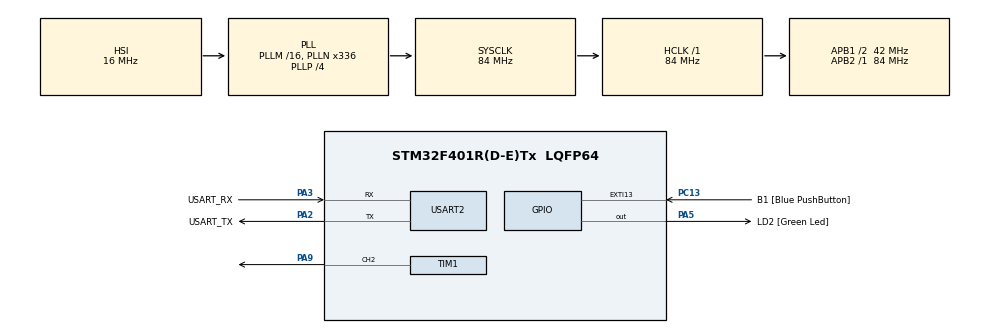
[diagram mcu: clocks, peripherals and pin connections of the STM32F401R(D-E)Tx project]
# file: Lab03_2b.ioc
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Mcu.Family=STM32F4
Mcu.Name=STM32F401R(D-E)Tx
Mcu.Package=LQFP64
NVIC.PriorityGroup=NVIC_PRIORITYGROUP_4
NVIC.TIM2_IRQn=true\:0\:0\:false\:false\:true\:true\:true\:true
PA13.GPIO_Label=TMS
PA13.Mode=Trace_Asynchronous_SW
PA13.Signal=SYS_JTMS-SWDIO
PA14.GPIO_Label=TCK
PA14.Mode=Trace_Asynchronous_SW
PA14.Signal=SYS_JTCK-SWCLK
PA2.GPIO_Label=USART_TX
PA2.GPIO_Mode=GPIO_MODE_AF_PP
PA2.GPIO_PuPd=GPIO_NOPULL
PA2.GPIO_Speed=GPIO_SPEED_FREQ_LOW
PA2.Mode=Asynchronous
PA2.Signal=USART2_TX
PA3.GPIO_Label=USART_RX
PA3.GPIO_Mode=GPIO_MODE_AF_PP
PA3.GPIO_PuPd=GPIO_NOPULL
PA3.GPIO_Speed=GPIO_SPEED_FREQ_LOW
PA3.Mode=Asynchronous
PA3.Signal=USART2_RX
PA5.GPIO_Label=LD2 [Green Led]
PA5.GPIO_Mode=GPIO_MODE_OUTPUT_PP
PA5.GPIO_PuPd=GPIO_NOPULL
PA5.GPIO_Speed=GPIO_SPEED_FREQ_LOW
PA5.Signal=GPIO_Output
PA9.Signal=S_TIM1_CH2
PB3.GPIO_Label=SWO
PB3.Mode=Trace_Asynchronous_SW
PB3.Signal=SYS_JTDO-SWO
PC13-ANTI_TAMP.GPIO_Label=B1 [Blue PushButton]
PC13-ANTI_TAMP.GPIO_ModeDefaultEXTI=GPIO_MODE_IT_FALLING
PC13-ANTI_TAMP.GPIO_PuPd=GPIO_NOPULL
PC13-ANTI_TAMP.Signal=GPXTI13
PC14-OSC32_IN.Mode=LSE-External-Oscillator
PC14-OSC32_IN.Signal=RCC_OSC32_IN
PC15-OSC32_OUT.Mode=LSE-External-Oscillator
PC15-OSC32_OUT.Signal=RCC_OSC32_OUT
PH0\ -\ OSC_IN.Mode=HSE-External-Clock-Source
PH0\ -\ OSC_IN.Signal=RCC_OSC_IN
PH1\ -\ OSC_OUT.Mode=HSE-External-Clock-Source
PH1\ -\ OSC_OUT.Signal=RCC_OSC_OUT
ProjectManager.HeapSize=0x200
ProjectManager.StackSize=0x400
ProjectManager.TargetToolchain=STM32CubeIDE
RCC.48MHZClocksFreq_Value=48000000
RCC.AHBFreq_Value=84000000
RCC.APB1CLKDivider=RCC_HCLK_DIV2
RCC.APB1Freq_Value=42000000
RCC.APB1TimFreq_Value=84000000
RCC.APB2Freq_Value=84000000
RCC.APB2TimFreq_Value=84000000
RCC.CortexFreq_Value=84000000
RCC.HCLKFreq_Value=84000000
RCC.HSE_VALUE=8000000
RCC.HSI_VALUE=16000000
RCC.PLLN=336
RCC.PLLP=RCC_PLLP_DIV4
RCC.PLLQ=7
RCC.SYSCLKFreq_VALUE=84000000
RCC.SYSCLKSource=RCC_SYSCLKSOURCE_PLLCLK
RCC.VCOOutputFreq_Value=336000000
SH.S_TIM1_CH2.0=TIM1_CH2,PWM Generation2 CH2
TIM1.Channel-PWM\ Generation2\ CH2=TIM_CHANNEL_2
TIM1.Period=1909
TIM1.Prescaler=99
TIM1.Pulse-PWM\ Generation2\ CH2=954
TIM2.Period=209999
TIM2.Prescaler=99
USART2.VirtualMode=VM_ASYNC
VP_TIM1_VS_ClockSourceINT.Mode=Internal
VP_TIM2_VS_ClockSourceINT.Mode=Internal
board=NUCLEO-F401RE

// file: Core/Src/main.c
/* USER CODE BEGIN Header */
/**
  ******************************************************************************
  * @file           : main.c
  * @brief          : Main program body
  ******************************************************************************
  * @attention
  *
  * Copyright (c) 2026 STMicroelectronics.
  * All rights reserved.
  *
  * This software is licensed under terms that can be found in the LICENSE file
  * in the root directory of this software component.
  * If no LICENSE file comes with this software, it is provided AS-IS.
  *
  ******************************************************************************
  */
/* USER CODE END Header */
#include "main.h"

/* USER CODE BEGIN PTD */
// Definiamo una struttura "Note"
typedef struct {
    int Period;
    int Duration;
} Note;

/* USER CODE END PTD */

/* USER CODE BEGIN PD */
#define PeriodD0 3205
#define PeriodRE 2856
#define PeriodMI 2544
#define PeriodFA 2405
#define PeriodSOL 2141
#define PeriodLA 1908
#define PeriodSI 1699

#define PeriodFA4 2405   // F4 = 349.23 Hz
#define PeriodLA4 1909   // A4 = 440.00 Hz
#define PeriodSI4 1701   // B4 = 493.88 Hz
#define PeriodDO5 1605   // C5 = 523.25 Hz
#define PeriodRE5 1430   // D5 = 587.33 Hz
#define PeriodMI5 1274   // E5 = 659.25 Hz
/* USER CODE END PD */

TIM_HandleTypeDef htim1;
TIM_HandleTypeDef htim2;

UART_HandleTypeDef huart2;

/* USER CODE BEGIN PV */
int i=0;
int ticks=0;
uint32_t duration_note=500; // valore a caso
Note Song[] = {
    {PeriodSOL, 3},
    {PeriodLA, 1},
    {PeriodSOL, 2},
    {PeriodFA, 2},
    {PeriodMI, 2},
    {PeriodFA, 2},
    {PeriodSOL, 3}
};

Note Swan_Lake[] = {
		{PeriodMI5, 4},
		{PeriodLA4, 1},
		{PeriodSI4, 1},
		{PeriodDO5, 1},
		{PeriodRE5, 1},
		{PeriodMI5, 3},
		{PeriodDO5, 1},
		{PeriodMI5, 3},
		{PeriodDO5, 1},
		{PeriodMI5, 3},
		{PeriodLA4, 1},
		{PeriodDO5, 1},
		{PeriodLA4, 1},
		{PeriodFA4, 1},
		{PeriodDO5, 1},
		{PeriodLA4, 4}
};

/* USER CODE END PV */

void SystemClock_Config(void);
static void MX_GPIO_Init(void);
static void MX_USART2_UART_Init(void);
static void MX_TIM1_Init(void);
static void MX_TIM2_Init(void);
/* USER CODE BEGIN PFP */
void play_note(uint32_t Period, uint32_t Duration);
/* USER CODE END PFP */

/* USER CODE BEGIN 0 */
void HAL_TIM_PeriodElapsedCallback(TIM_HandleTypeDef *htim)
{
	if(htim->Instance == TIM2){
		ticks+=1;
		if(ticks==duration_note){
			i+=1;
			if(i==(sizeof(Swan_Lake)/sizeof(Swan_Lake[0]))){ // Fine Canzone
				HAL_TIM_PWM_Stop(&htim1, TIM_CHANNEL_2);
				HAL_TIM_Base_Stop_IT(&htim2);
			}else{
				play_note(Swan_Lake[i].Period, Swan_Lake[i].Duration);
			}
		}
	}
}

void play_note(uint32_t Period, uint32_t Duration){
    duration_note=Duration;
    ticks=0;

	// Aggiorna il Periodo (frequenza) nel registro del Timer
    // L'unica variabile da ri-inizializzare è quella di base (più veloce di HAL_TIM_Base_Init)
    // Usiamo una macro veloce che accede direttamente al registro
    __HAL_TIM_SET_AUTORELOAD(&htim1, Period - 1);

    // Aggiorna il Pulse (Duty Cycle)
    __HAL_TIM_SET_COMPARE(&htim1, TIM_CHANNEL_2, Period / 2);

    // Fai suonare nota
	HAL_TIM_PWM_Start(&htim1, TIM_CHANNEL_2);
}

/* USER CODE END 0 */

int main(void)
{

  /* MCU Configuration--------------------------------------------------------*/

  /* Reset of all peripherals, Initializes the Flash interface and the Systick. */
  HAL_Init();

  /* Configure the system clock */
  SystemClock_Config();

  /* Initialize all configured peripherals */
  MX_GPIO_Init();
  MX_USART2_UART_Init();
  MX_TIM1_Init();
  MX_TIM2_Init();
  /* USER CODE BEGIN 2 */
  play_note(Swan_Lake[i].Period, Swan_Lake[i].Duration); // Inizia a suonare la prima nota
  HAL_TIM_Base_Start_IT(&htim2); // Inizia a contare

  /* USER CODE END 2 */

  /* Infinite loop */
  while (1)
  {

  }
}

void SystemClock_Config(void)
{
  RCC_OscInitTypeDef RCC_OscInitStruct = {0};
  RCC_ClkInitTypeDef RCC_ClkInitStruct = {0};

  /** Configure the main internal regulator output voltage
  */
  __HAL_RCC_PWR_CLK_ENABLE();
  __HAL_PWR_VOLTAGESCALING_CONFIG(PWR_REGULATOR_VOLTAGE_SCALE2);

  /** Initializes the RCC Oscillators according to the specified parameters
  * in the RCC_OscInitTypeDef structure.
  */
  RCC_OscInitStruct.OscillatorType = RCC_OSCILLATORTYPE_HSI;
  RCC_OscInitStruct.HSIState = RCC_HSI_ON;
  RCC_OscInitStruct.HSICalibrationValue = RCC_HSICALIBRATION_DEFAULT;
  RCC_OscInitStruct.PLL.PLLState = RCC_PLL_ON;
  RCC_OscInitStruct.PLL.PLLSource = RCC_PLLSOURCE_HSI;
  RCC_OscInitStruct.PLL.PLLM = 16;
  RCC_OscInitStruct.PLL.PLLN = 336;
  RCC_OscInitStruct.PLL.PLLP = RCC_PLLP_DIV4;
  RCC_OscInitStruct.PLL.PLLQ = 7;
  if (HAL_RCC_OscConfig(&RCC_OscInitStruct) != HAL_OK)
  {
    Error_Handler();
  }

  /** Initializes the CPU, AHB and APB buses clocks
  */
  RCC_ClkInitStruct.ClockType = RCC_CLOCKTYPE_HCLK|RCC_CLOCKTYPE_SYSCLK
                              |RCC_CLOCKTYPE_PCLK1|RCC_CLOCKTYPE_PCLK2;
  RCC_ClkInitStruct.SYSCLKSource = RCC_SYSCLKSOURCE_PLLCLK;
  RCC_ClkInitStruct.AHBCLKDivider = RCC_SYSCLK_DIV1;
  RCC_ClkInitStruct.APB1CLKDivider = RCC_HCLK_DIV2;
  RCC_ClkInitStruct.APB2CLKDivider = RCC_HCLK_DIV1;

  if (HAL_RCC_ClockConfig(&RCC_ClkInitStruct, FLASH_LATENCY_2) != HAL_OK)
  {
    Error_Handler();
  }
}

static void MX_TIM1_Init(void)
{

  TIM_ClockConfigTypeDef sClockSourceConfig = {0};
  TIM_MasterConfigTypeDef sMasterConfig = {0};
  TIM_OC_InitTypeDef sConfigOC = {0};
  TIM_BreakDeadTimeConfigTypeDef sBreakDeadTimeConfig = {0};

  htim1.Instance = TIM1;
  htim1.Init.Prescaler = 99;
  htim1.Init.CounterMode = TIM_COUNTERMODE_UP;
  htim1.Init.Period = 1909;
  htim1.Init.ClockDivision = TIM_CLOCKDIVISION_DIV1;
  htim1.Init.RepetitionCounter = 0;
  htim1.Init.AutoReloadPreload = TIM_AUTORELOAD_PRELOAD_DISABLE;
  if (HAL_TIM_Base_Init(&htim1) != HAL_OK)
  {
    Error_Handler();
  }
  sClockSourceConfig.ClockSource = TIM_CLOCKSOURCE_INTERNAL;
  if (HAL_TIM_ConfigClockSource(&htim1, &sClockSourceConfig) != HAL_OK)
  {
    Error_Handler();
  }
  if (HAL_TIM_PWM_Init(&htim1) != HAL_OK)
  {
    Error_Handler();
  }
  sMasterConfig.MasterOutputTrigger = TIM_TRGO_RESET;
  sMasterConfig.MasterSlaveMode = TIM_MASTERSLAVEMODE_DISABLE;
  if (HAL_TIMEx_MasterConfigSynchronization(&htim1, &sMasterConfig) != HAL_OK)
  {
    Error_Handler();
  }
  sConfigOC.OCMode = TIM_OCMODE_PWM1;
  sConfigOC.Pulse = 954;
  sConfigOC.OCPolarity = TIM_OCPOLARITY_HIGH;
  sConfigOC.OCNPolarity = TIM_OCNPOLARITY_HIGH;
  sConfigOC.OCFastMode = TIM_OCFAST_DISABLE;
  sConfigOC.OCIdleState = TIM_OCIDLESTATE_RESET;
  sConfigOC.OCNIdleState = TIM_OCNIDLESTATE_RESET;
  if (HAL_TIM_PWM_ConfigChannel(&htim1, &sConfigOC, TIM_CHANNEL_2) != HAL_OK)
  {
    Error_Handler();
  }
  sBreakDeadTimeConfig.OffStateRunMode = TIM_OSSR_DISABLE;
  sBreakDeadTimeConfig.OffStateIDLEMode = TIM_OSSI_DISABLE;
  sBreakDeadTimeConfig.LockLevel = TIM_LOCKLEVEL_OFF;
  sBreakDeadTimeConfig.DeadTime = 0;
  sBreakDeadTimeConfig.BreakState = TIM_BREAK_DISABLE;
  sBreakDeadTimeConfig.BreakPolarity = TIM_BREAKPOLARITY_HIGH;
  sBreakDeadTimeConfig.AutomaticOutput = TIM_AUTOMATICOUTPUT_DISABLE;
  if (HAL_TIMEx_ConfigBreakDeadTime(&htim1, &sBreakDeadTimeConfig) != HAL_OK)
  {
    Error_Handler();
  }
  HAL_TIM_MspPostInit(&htim1);

}

static void MX_TIM2_Init(void)
{

  TIM_ClockConfigTypeDef sClockSourceConfig = {0};
  TIM_MasterConfigTypeDef sMasterConfig = {0};

  htim2.Instance = TIM2;
  htim2.Init.Prescaler = 99;
  htim2.Init.CounterMode = TIM_COUNTERMODE_UP;
  htim2.Init.Period = 209999;
  htim2.Init.ClockDivision = TIM_CLOCKDIVISION_DIV1;
  htim2.Init.AutoReloadPreload = TIM_AUTORELOAD_PRELOAD_DISABLE;
  if (HAL_TIM_Base_Init(&htim2) != HAL_OK)
  {
    Error_Handler();
  }
  sClockSourceConfig.ClockSource = TIM_CLOCKSOURCE_INTERNAL;
  if (HAL_TIM_ConfigClockSource(&htim2, &sClockSourceConfig) != HAL_OK)
  {
    Error_Handler();
  }
  sMasterConfig.MasterOutputTrigger = TIM_TRGO_RESET;
  sMasterConfig.MasterSlaveMode = TIM_MASTERSLAVEMODE_DISABLE;
  if (HAL_TIMEx_MasterConfigSynchronization(&htim2, &sMasterConfig) != HAL_OK)
  {
    Error_Handler();
  }

}

static void MX_USART2_UART_Init(void)
{

  huart2.Instance = USART2;
  huart2.Init.BaudRate = 115200;
  huart2.Init.WordLength = UART_WORDLENGTH_8B;
  huart2.Init.StopBits = UART_STOPBITS_1;
  huart2.Init.Parity = UART_PARITY_NONE;
  huart2.Init.Mode = UART_MODE_TX_RX;
  huart2.Init.HwFlowCtl = UART_HWCONTROL_NONE;
  huart2.Init.OverSampling = UART_OVERSAMPLING_16;
  if (HAL_UART_Init(&huart2) != HAL_OK)
  {
    Error_Handler();
  }

}

static void MX_GPIO_Init(void)
{
  GPIO_InitTypeDef GPIO_InitStruct = {0};

  /* GPIO Ports Clock Enable */
  __HAL_RCC_GPIOC_CLK_ENABLE();
  __HAL_RCC_GPIOH_CLK_ENABLE();
  __HAL_RCC_GPIOA_CLK_ENABLE();
  __HAL_RCC_GPIOB_CLK_ENABLE();

  /*Configure GPIO pin Output Level */
  HAL_GPIO_WritePin(LD2_GPIO_Port, LD2_Pin, GPIO_PIN_RESET);

  /*Configure GPIO pin : B1_Pin */
  GPIO_InitStruct.Pin = B1_Pin;
  GPIO_InitStruct.Mode = GPIO_MODE_IT_FALLING;
  GPIO_InitStruct.Pull = GPIO_NOPULL;
  HAL_GPIO_Init(B1_GPIO_Port, &GPIO_InitStruct);

  /*Configure GPIO pin : LD2_Pin */
  GPIO_InitStruct.Pin = LD2_Pin;
  GPIO_InitStruct.Mode = GPIO_MODE_OUTPUT_PP;
  GPIO_InitStruct.Pull = GPIO_NOPULL;
  GPIO_InitStruct.Speed = GPIO_SPEED_FREQ_LOW;
  HAL_GPIO_Init(LD2_GPIO_Port, &GPIO_InitStruct);

}

void Error_Handler(void)
{
	__disable_irq();
	while (1)
	{
	}
}
